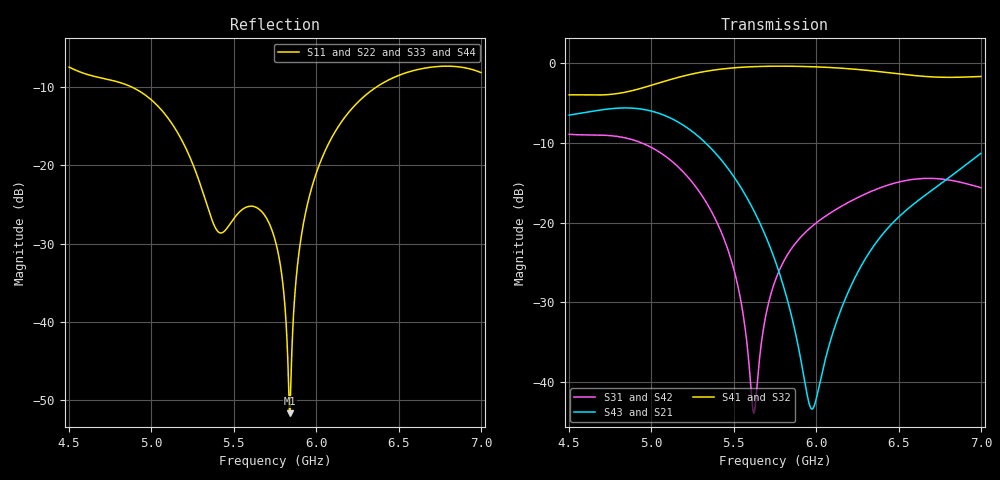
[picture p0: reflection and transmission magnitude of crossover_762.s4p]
! TOUCHSTONE file generated by CST MICROWAVE STUDIO
! Date and time: Tue Sep 29 18:59:27 2026
! Project name: crossover2h.cst
! Parameters = {Lf=10; a=9.6432; b=9.8112; dx=31.7432; h=0.762; s=1.12; t=0.035; w35=3.44; w50=2.1}
! Header version: 2024
! Port assignment regex: !\s*Touchstone port\s*([0-9]+)\s*=\s*(CST MWS port|CST DES external port|CST DES block port)\s*(.+)\s* \(\"(.*)\"\)(\s*mode\s*([0-9]+))?.*
! Touchstone port assignment:
! Touchstone port 1 = CST MWS port 1 ("")
! Touchstone port 2 = CST MWS port 2 ("")
! Touchstone port 3 = CST MWS port 3 ("")
! Touchstone port 4 = CST MWS port 4 ("")
# GHz S MA R 50
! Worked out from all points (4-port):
!   5001 points, 4.5 GHz to 7 GHz, reference 50 ohm
!   strongest paths, dB at 4.5 GHz, 5.125 GHz, 5.75 GHz, 6.375 GHz, 7 GHz:
!     S41: -4.0, -2.0, -0.4, -1.1, -1.7
!     S32: -4.0, -2.0, -0.4, -1.1, -1.7
!     S43: -6.5, -7.0, -24.7, -22.2, -11.3
!     S21: -6.5, -7.0, -24.7, -22.2, -11.3
!     S31: -8.9, -12.3, -27.3, -15.7, -15.6
!     S42: -8.9, -12.3, -27.3, -15.7, -15.6
!   lowest |S11| = -51.7 dB at 5.84 GHz (marker M1), VSWR 1.01, Z = 50.3 + j0.00638 ohm
!   |S11| at or under -10 dB: 4.879 GHz to 6.367 GHz (1.488 GHz wide, 26.5 % of centre)
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4.5  0.423 -55.4  0.4722 120.2  0.3581 162.0  0.6324 -174.3
     0.4722 120.2  0.423 -55.4  0.6324 -174.3  0.358 162.0
     0.3581 162.0  0.6324 -174.3  0.423 -55.4  0.4722 120.2
     0.6324 -174.3  0.358 162.0  0.4722 120.2  0.423 -55.4
5.3005  0.07317 -123.1  0.3362 -2.7  0.1511 6.5  0.8771 83.1
        0.3362 -2.7  0.07318 -123.0  0.8771 83.1  0.1511 6.5
        0.1511 6.5  0.8771 83.1  0.07313 -123.0  0.3362 -2.7
        0.8771 83.1  0.1511 6.5  0.3362 -2.7  0.07316 -123.1
5.621  0.05448 -58.8  0.1193 -54.2  0.006391 28.3  0.9501 32.4
       0.1193 -54.2  0.05447 -58.9  0.9501 32.4  0.006375 28.3
       0.006391 28.3  0.9501 32.4  0.05448 -58.8  0.1193 -54.2
       0.9501 32.4  0.006375 28.3  0.1193 -54.2  0.05449 -58.9
5.8395  0.002604 1.4  0.02885 -83.2  0.0663 77.2  0.956 -1.6
        0.02885 -83.2  0.00259 1.9  0.956 -1.6  0.0663 77.2
        0.0663 77.2  0.956 -1.6  0.002599 1.8  0.02885 -83.3
        0.956 -1.6  0.0663 77.2  0.02885 -83.3  0.002579 1.3
5.9735  0.07217 66.7  0.006768 -154.2  0.0946 58.3  0.9492 -22.0
        0.006768 -154.2  0.07219 66.7  0.9492 -22.0  0.09459 58.3
        0.0946 58.3  0.9492 -22.0  0.07219 66.7  0.006791 -154.3
        0.9492 -22.0  0.09459 58.3  0.006791 -154.3  0.07216 66.7
6.1195  0.1666 44.5  0.02323 143.4  0.1209 37.8  0.9339 -44.1
        0.02323 143.4  0.1666 44.5  0.9339 -44.1  0.1209 37.8
        0.1209 37.8  0.9339 -44.1  0.1666 44.5  0.02325 143.4
        0.9339 -44.1  0.1209 37.8  0.02325 143.4  0.1666 44.5
7  0.3905 -83.7  0.2722 87.4  0.1657 -125.0  0.8245 -165.5
   0.2722 87.4  0.3905 -83.7  0.8245 -165.5  0.1656 -125.0
   0.1657 -125.0  0.8245 -165.5  0.3905 -83.7  0.2722 87.4
   0.8245 -165.5  0.1656 -125.0  0.2722 87.4  0.3905 -83.7
